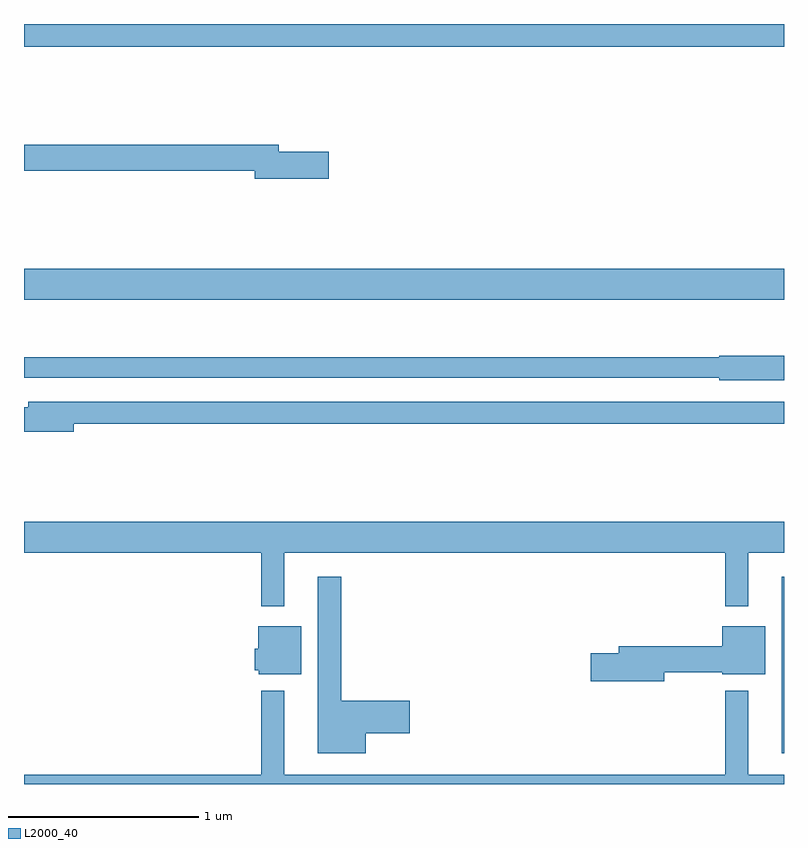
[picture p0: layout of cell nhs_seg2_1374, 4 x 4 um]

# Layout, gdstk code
import gdstk
lib = gdstk.Library(unit=1e-6, precision=1e-09)
def R(c, l, rs):  # rectangles x0, y0, x1, y1
    for r in rs: c.add(gdstk.rectangle(r[:2], r[2:], *l))
def P(c, l, *ps):  # polygons
    for p in ps: c.add(gdstk.Polygon(p, *l))
L2000_40 = (2000, 40)

nhs_seg2_1374 = lib.new_cell('nhs_seg2_1374')
R(nhs_seg2_1374, L2000_40, [(186.989,599.963,187,600.892), (183,602.348,187,602.512), (183,603.68,187,603.8)])
P(nhs_seg2_1374, L2000_40, [(184.603,603.128),(184.342,603.128),(184.342,603.164),(183,603.164),(183,603.028),(184.214,603.028),(184.214,602.986),(184.603,602.986)],
  [(187,602.055),(186.66,602.055),(186.66,602.047),(183,602.047),(183,601.938),(186.66,601.938),(186.66,601.925),(187,601.925)],
  [(183.262,601.696),(187,601.696),(187,601.812),(183.023,601.812),(183.023,601.783),(183,601.783),(183,601.654),(183.262,601.654)],
  [(184.369,601.016),(186.69,601.016),(186.69,600.735),(186.811,600.735),(186.811,601.016),(187,601.016),(187,601.18),(183,601.18),(183,601.016),(184.248,601.016),(184.248,600.735),(184.369,600.735)],
  [(184.798,600.068),(185.029,600.068),(185.029,600.239),(184.669,600.239),(184.669,600.892),(184.547,600.892),(184.547,599.963),(184.798,599.963)],
  [(184.459,600.631),(184.232,600.631),(184.232,600.513),(184.214,600.513),(184.214,600.399),(184.236,600.399),(184.236,600.377),(184.459,600.377)],
  [(186.37,600.388),(186.674,600.388),(186.674,600.377),(186.901,600.377),(186.901,600.631),(186.674,600.631),(186.674,600.524),(186.131,600.524),(186.131,600.488),(185.982,600.488),(185.982,600.341),(186.37,600.341)],
  [(187,599.848),(186.811,599.848),(186.811,600.292),(186.69,600.292),(186.69,599.848),(184.369,599.848),(184.369,600.292),(184.248,600.292),(184.248,599.848),(183,599.848),(183,599.8),(187,599.8)])

lib.write_gds('nhs_seg2_1374.gds')
